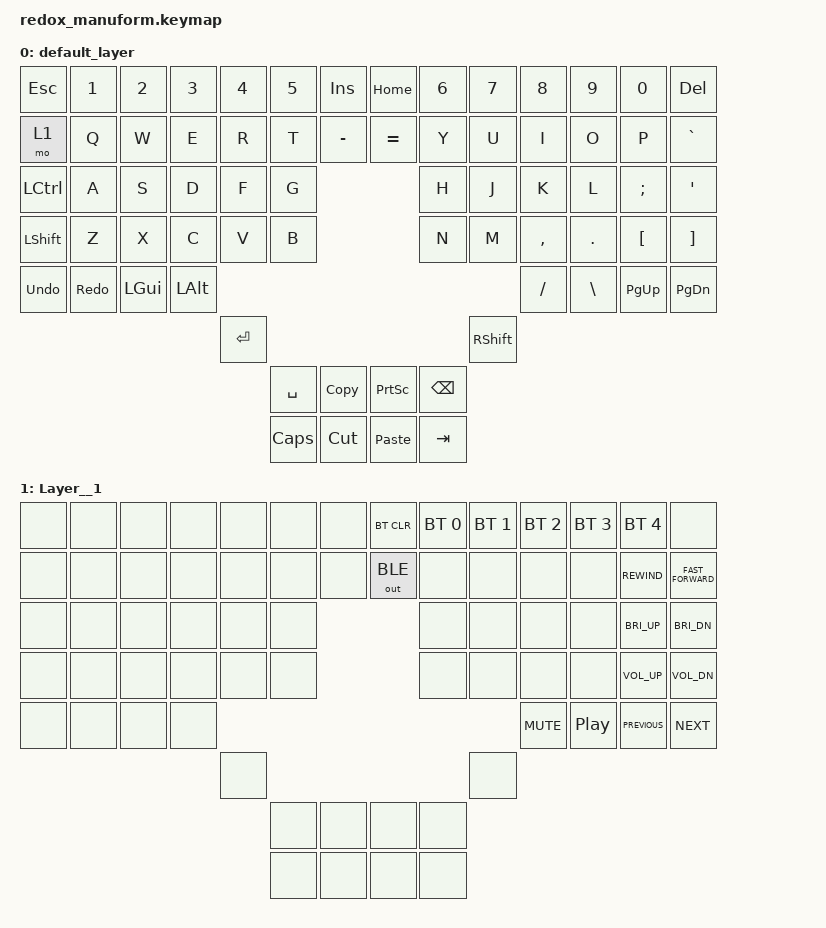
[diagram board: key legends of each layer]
/*
 * Copyright (c) 2021 The ZMK Contributors
 *
 * SPDX-License-Identifier: MIT
 */

#include <behaviors.dtsi>
#include <dt-bindings/zmk/keys.h>
#include <dt-bindings/zmk/bt.h>
#include <dt-bindings/zmk/outputs.h>

/ {
    macros {
        Copy: Copy {
            compatible = "zmk,behavior-macro";
            label = "Copy";
            #binding-cells = <0>;
            bindings = <&kp LCTRL &kp C>;
        };
        Paste: Paste {
            compatible = "zmk,behavior-macro";
            label = "Paste";
            #binding-cells = <0>;
            bindings = <&kp LCTRL &kp V>;
        };
        Cut: Cut {
            compatible = "zmk,behavior-macro";
            label = "Cut";
            #binding-cells = <0>;
            bindings = <&kp LCTRL &kp X>;
        };
        Undo: Undo {
            compatible = "zmk,behavior-macro";
            label = "Undo";
            #binding-cells = <0>;
            bindings = <&kp LCTRL &kp Z>;
        };
        Redo: Redo {
            compatible = "zmk,behavior-macro";
            label = "Redo";
            #binding-cells = <0>;
            bindings = <&kp LCTRL &kp Y>;
        };
    };

    keymap {
        compatible = "zmk,keymap";

        default_layer {
            // --------------------------------------------------------------------------------------------------------------------------------
            // | ESC   |  1  |  2  |   3   |  4  |  5  |   (   |           ---           |  )    |  6  |  7  |  8    |  9   | 0  |    BKSP   |
            // | TAB   |  Q  |  W  |   E   |  R  |  T  |   [   |           ---           |  ]    |  Y  |  U  |  I    |  O   | P  |     -     |
            // | CTRL  |  A  |  S  |   D   |  F  |  G  |                   ---                   |  H  |  J  |  K    |  L   | ;  |     '     |
            // | SHIFT |  Z  |  X  |   C   |  V  |  B  |                   ---                   |  N  |  M  |  ,    |  .   | /  | SHFT(RET) |
            // | CRTL  | ALT | GUI | LOWER |                               ---                               | LEFT  | DOWN | UP |   RIGHT   |
            //                             |    GUI    |                   ---                   |   RAISE   |
            //                             |   PG_up   | SPACE |           ---           |  HOME |   SPACE   |   
            //                             |   PG_DOWN | LOWER |           ---           |  DEL  |   END     |

            bindings = <
  &kp ESC  &kp N1    &kp N2    &kp N3     &kp N4     &kp N5    &kp INS         &kp HOME    &kp N6     &kp N7     &kp N8    &kp N9     &kp N0    &kp DEL
    &mo 1   &kp Q     &kp W     &kp E      &kp R      &kp T  &kp MINUS        &kp EQUAL     &kp Y      &kp U      &kp I     &kp O      &kp P  &kp GRAVE
&kp LCTRL   &kp A     &kp S     &kp D      &kp F      &kp G                                 &kp H      &kp J      &kp K     &kp L   &kp SEMI    &kp SQT
&kp LSHFT   &kp Z     &kp X     &kp C      &kp V      &kp B                                 &kp N      &kp M  &kp COMMA   &kp DOT   &kp LBKT   &kp RBKT
    &Undo   &Redo  &kp LGUI  &kp LALT                                                                          &kp FSLH  &kp BSLH  &kp PG_UP  &kp PG_DN
                                       &kp ENTER                                                   &kp RSHFT
                                                  &kp SPACE      &Copy  &kp PRINTSCREEN  &kp BSPC
                                                   &kp CAPS       &Cut           &Paste   &kp TAB
            >;
        };

        Layer__1 {
            bindings = <
&none  &none  &none  &none  &none  &none  &none    &bt BT_CLR  &bt BT_SEL 0  &bt BT_SEL 1  &bt BT_SEL 2      &bt BT_SEL 3    &bt BT_SEL 4               &none
&none  &none  &none  &none  &none  &none  &none  &out OUT_BLE         &none         &none         &none             &none    &kp C_REWIND  &kp C_FAST_FORWARD
&none  &none  &none  &none  &none  &none                              &none         &none         &none             &none    &kp C_BRI_UP        &kp C_BRI_DN
&none  &none  &none  &none  &none  &none                              &none         &none         &none             &none    &kp C_VOL_UP        &kp C_VOL_DN
&none  &none  &none  &none                                                                   &kp C_MUTE  &kp C_PLAY_PAUSE  &kp C_PREVIOUS          &kp C_NEXT
                            &none                                                   &none
                                   &none  &none         &none         &none
                                   &none  &none         &none         &none
            >;
        };
    };
};
